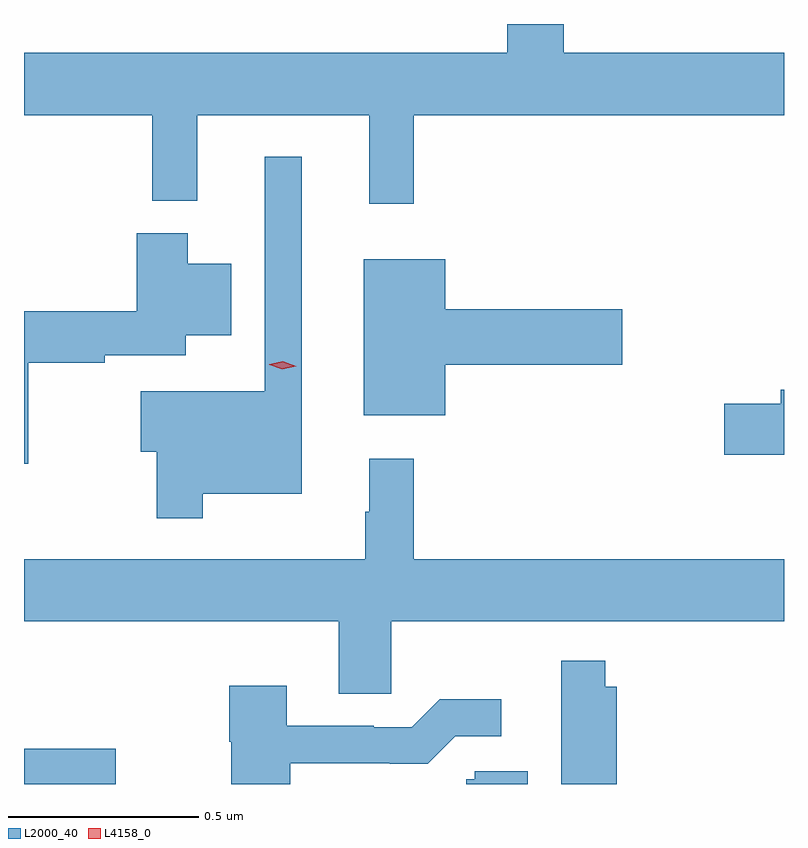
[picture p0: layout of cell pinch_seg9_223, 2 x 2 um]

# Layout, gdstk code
import gdstk
lib = gdstk.Library(unit=1e-6, precision=1e-09)
def R(c, l, rs):  # rectangles x0, y0, x1, y1
    for r in rs: c.add(gdstk.rectangle(r[:2], r[2:], *l))
def P(c, l, *ps):  # polygons
    for p in ps: c.add(gdstk.Polygon(p, *l))
L2000_40 = (2000, 40)
L4158_0 = (4158, 0)

pinch_seg9_223 = lib.new_cell('pinch_seg9_223')
R(pinch_seg9_223, L2000_40, [(582.185,1206.648,582.427,1206.741)])
P(pinch_seg9_223, L2000_40, [(583.211,1208.408),(584.185,1208.408),(584.185,1208.572),(583.605,1208.572),(583.605,1208.648),(583.457,1208.648),(583.457,1208.572),(582.185,1208.572),(582.185,1208.408),(582.523,1208.408),(582.523,1208.183),(582.641,1208.183),(582.641,1208.408),(583.094,1208.408),(583.094,1208.175),(583.211,1208.175)],
  [(582.655,1207.412),(582.916,1207.412),(582.916,1208.299),(582.819,1208.299),(582.819,1207.681),(582.492,1207.681),(582.492,1207.523),(582.534,1207.523),(582.534,1207.347),(582.655,1207.347)],
  [(582.196,1207.756),(582.398,1207.756),(582.398,1207.776),(582.61,1207.776),(582.61,1207.829),(582.73,1207.829),(582.73,1208.017),(582.616,1208.017),(582.616,1208.098),(582.482,1208.098),(582.482,1207.892),(582.185,1207.892),(582.185,1207.491),(582.196,1207.491)],
  [(583.294,1207.751),(583.759,1207.751),(583.759,1207.898),(583.294,1207.898),(583.294,1208.029),(583.079,1208.029),(583.079,1207.619),(583.294,1207.619)],
  [(584.185,1207.685),(584.177,1207.685),(584.177,1207.649),(584.028,1207.649),(584.028,1207.514),(584.185,1207.514)],
  [(583.152,1207.076),(584.185,1207.076),(584.185,1207.24),(583.211,1207.24),(583.211,1207.504),(583.094,1207.504),(583.094,1207.364),(583.083,1207.364),(583.083,1207.24),(582.185,1207.24),(582.185,1207.076),(583.013,1207.076),(583.013,1206.886),(583.152,1206.886)],
  [(583.745,1206.904),(583.715,1206.904),(583.715,1206.973),(583.599,1206.973),(583.599,1206.648),(583.745,1206.648)],
  [(582.885,1206.702),(583.148,1206.702),(583.148,1206.701),(583.247,1206.701),(583.32,1206.774),(583.441,1206.774),(583.441,1206.871),(583.279,1206.871),(583.206,1206.798),(583.106,1206.798),(583.106,1206.801),(582.877,1206.801),(582.877,1206.907),(582.725,1206.907),(582.725,1206.759),(582.73,1206.759),(582.73,1206.648),(582.885,1206.648)],
  [(583.51,1206.681),(583.371,1206.681),(583.371,1206.66),(583.349,1206.66),(583.349,1206.648),(583.51,1206.648)])
P(pinch_seg9_223, L4158_0, [(582.865,1207.74),(582.83,1207.751),(582.83,1207.752),(582.83,1207.752),(582.866,1207.76),(582.901,1207.748),(582.901,1207.748),(582.901,1207.748)])

lib.write_gds('pinch_seg9_223.gds')
